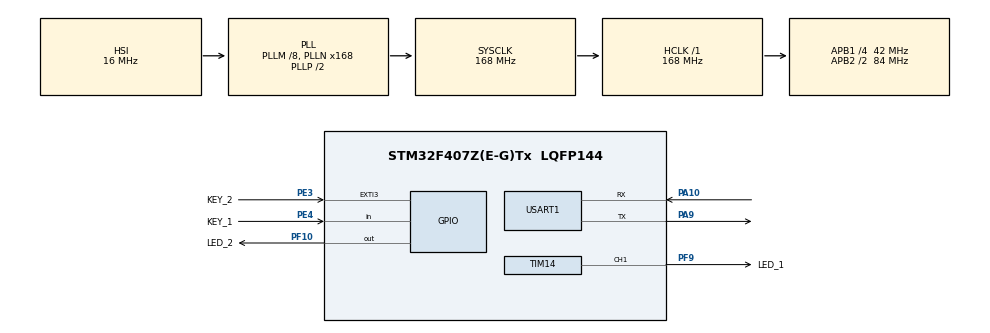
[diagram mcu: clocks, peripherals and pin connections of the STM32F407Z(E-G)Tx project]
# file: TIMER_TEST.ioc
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Mcu.Family=STM32F4
Mcu.Name=STM32F407Z(E-G)Tx
Mcu.Package=LQFP144
NVIC.EXTI3_IRQn=true\:0\:0\:false\:false\:true\:true\:true
NVIC.PriorityGroup=NVIC_PRIORITYGROUP_4
NVIC.TIM6_DAC_IRQn=true\:0\:0\:false\:false\:true\:true\:true
NVIC.TIM8_TRG_COM_TIM14_IRQn=true\:1\:0\:true\:false\:true\:true\:true
NVIC.USART1_IRQn=true\:0\:0\:false\:false\:true\:true\:true
PA10.Mode=Asynchronous
PA10.Signal=USART1_RX
PA13.Mode=JTAG_5_pins
PA13.Signal=SYS_JTMS-SWDIO
PA14.Mode=JTAG_5_pins
PA14.Signal=SYS_JTCK-SWCLK
PA15.Mode=JTAG_5_pins
PA15.Signal=SYS_JTDI
PA9.Mode=Asynchronous
PA9.Signal=USART1_TX
PB3.Mode=JTAG_5_pins
PB3.Signal=SYS_JTDO-SWO
PB4.Mode=JTAG_5_pins
PB4.Signal=SYS_JTRST
PE3.GPIO_Label=KEY_2
PE3.GPIO_ModeDefaultEXTI=GPIO_MODE_IT_FALLING
PE3.GPIO_PuPd=GPIO_PULLUP
PE3.Signal=GPXTI3
PE4.GPIO_Label=KEY_1
PE4.GPIO_PuPd=GPIO_PULLUP
PE4.Signal=GPIO_Input
PF10.GPIO_Label=LED_2
PF10.PinState=GPIO_PIN_SET
PF10.Signal=GPIO_Output
PF9.GPIO_Label=LED_1
PF9.Signal=S_TIM14_CH1
PH0-OSC_IN.Mode=HSE-External-Oscillator
PH0-OSC_IN.Signal=RCC_OSC_IN
PH1-OSC_OUT.Mode=HSE-External-Oscillator
PH1-OSC_OUT.Signal=RCC_OSC_OUT
ProjectManager.HeapSize=0x200
ProjectManager.StackSize=0x400
ProjectManager.TargetToolchain=STM32CubeIDE
RCC.48MHZClocksFreq_Value=84000000
RCC.AHBFreq_Value=168000000
RCC.APB1CLKDivider=RCC_HCLK_DIV4
RCC.APB1Freq_Value=42000000
RCC.APB1TimFreq_Value=84000000
RCC.APB2CLKDivider=RCC_HCLK_DIV2
RCC.APB2Freq_Value=84000000
RCC.APB2TimFreq_Value=168000000
RCC.CortexFreq_Value=168000000
RCC.HCLKFreq_Value=168000000
RCC.HSE_VALUE=25000000
RCC.HSI_VALUE=16000000
RCC.LSE_VALUE=32768
RCC.PLLM=8
RCC.PLLN=168
RCC.SYSCLKFreq_VALUE=168000000
RCC.SYSCLKSource=RCC_SYSCLKSOURCE_PLLCLK
RCC.VCOOutputFreq_Value=336000000
SH.S_TIM14_CH1.0=TIM14_CH1,PWM Generation1 CH1
TIM14.Channel=TIM_CHANNEL_1
TIM14.OCPolarity_1=TIM_OCPOLARITY_LOW
TIM14.Period=999
TIM14.Prescaler=0
TIM14.Pulse=300
TIM6.Period=999
TIM6.Prescaler=41999
USART1.VirtualMode=VM_ASYNC
VP_TIM14_VS_ClockSourceINT.Mode=Enable_Timer
VP_TIM6_VS_ClockSourceINT.Mode=Enable_Timer
board=custom

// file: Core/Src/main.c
/* USER CODE BEGIN Header */
/**
  ******************************************************************************
  * @file           : main.c
  * @brief          : Main program body
  ******************************************************************************
  * @attention
  *
  * <h2><center>&copy; Copyright (c) 2021 STMicroelectronics.
  * All rights reserved.</center></h2>
  *
  * This software component is licensed by ST under BSD 3-Clause license,
  * the "License"; You may not use this file except in compliance with the
  * License. You may obtain a copy of the License at:
  *                        opensource.org/licenses/BSD-3-Clause
  *
  ******************************************************************************
  */
/* USER CODE END Header */
#include "main.h"
#include "tim.h"
#include "usart.h"
#include "gpio.h"

/* USER CODE BEGIN Includes */
#include "led.h"
#include "led_control.h"
#include "stdio.h"
/* USER CODE END Includes */

/* USER CODE BEGIN PV */
uint8_t receive_char;
/* USER CODE END PV */

void SystemClock_Config(void);

int main(void)
{

  /* MCU Configuration--------------------------------------------------------*/

  /* Reset of all peripherals, Initializes the Flash interface and the Systick. */
  HAL_Init();

  /* Configure the system clock */
  SystemClock_Config();

  /* Initialize all configured peripherals */
  MX_GPIO_Init();
  MX_USART1_UART_Init();
  MX_TIM6_Init();
  MX_TIM14_Init();
  /* USER CODE BEGIN 2 */

  printf("串口发送正常\r\n");
  HAL_Delay(500);
  printf("串口发送正常\r\n");
  HAL_Delay(500);
  printf("串口发送正常\r\n");

  HAL_UART_Receive_IT(&huart1, &receive_char, 1);

  KeyControlInit();

  //需要tim的哪个功能就使能哪个就行了，不需要使能没用上的
  HAL_TIM_Base_Start_IT(&htim6);
  //HAL_TIM_Base_Start_IT(&htim14);	//使能tim14的定时器中断功能
  HAL_TIM_PWM_Start_IT(&htim14, TIM_CHANNEL_1);
  //HAL_TIM_PWM_Start(&htim14, TIM_CHANNEL_1);//使能tim14 ch1 pwm调波功能

  uint16_t dutycycle=0;

  /* USER CODE END 2 */

  /* Infinite loop */
  /* USER CODE BEGIN WHILE */
  while (1)
  {
	KeyControl();

	//led呼吸灯效果（控制pwm调波占空比）
	while(dutycycle<1000)
		{
			dutycycle++;
			//__HAL_TIM_SET_COMPARE(&htim14,TIM_CHANNEL_1,dutycycle); //库操作方式
			TIM14->CCR1 = dutycycle;         //寄存器操作方式
			HAL_Delay(1);
		}
		while(dutycycle)
		{
			dutycycle--;
			//__HAL_TIM_SET_COMPARE(&htim14,TIM_CHANNEL_1,dutycycle); //库操作方式
			TIM14->CCR1 = dutycycle;         //寄存器操作方式
			HAL_Delay(1);
		}
	//HAL_Delay(100);
    /* USER CODE END WHILE */

  }
}

void SystemClock_Config(void)
{
  RCC_OscInitTypeDef RCC_OscInitStruct = {0};
  RCC_ClkInitTypeDef RCC_ClkInitStruct = {0};

  /** Configure the main internal regulator output voltage
  */
  __HAL_RCC_PWR_CLK_ENABLE();
  __HAL_PWR_VOLTAGESCALING_CONFIG(PWR_REGULATOR_VOLTAGE_SCALE1);
  /** Initializes the RCC Oscillators according to the specified parameters
  * in the RCC_OscInitTypeDef structure.
  */
  RCC_OscInitStruct.OscillatorType = RCC_OSCILLATORTYPE_HSI;
  RCC_OscInitStruct.HSIState = RCC_HSI_ON;
  RCC_OscInitStruct.HSICalibrationValue = RCC_HSICALIBRATION_DEFAULT;
  RCC_OscInitStruct.PLL.PLLState = RCC_PLL_ON;
  RCC_OscInitStruct.PLL.PLLSource = RCC_PLLSOURCE_HSI;
  RCC_OscInitStruct.PLL.PLLM = 8;
  RCC_OscInitStruct.PLL.PLLN = 168;
  RCC_OscInitStruct.PLL.PLLP = RCC_PLLP_DIV2;
  RCC_OscInitStruct.PLL.PLLQ = 4;
  if (HAL_RCC_OscConfig(&RCC_OscInitStruct) != HAL_OK)
  {
    Error_Handler();
  }
  /** Initializes the CPU, AHB and APB buses clocks
  */
  RCC_ClkInitStruct.ClockType = RCC_CLOCKTYPE_HCLK|RCC_CLOCKTYPE_SYSCLK
                              |RCC_CLOCKTYPE_PCLK1|RCC_CLOCKTYPE_PCLK2;
  RCC_ClkInitStruct.SYSCLKSource = RCC_SYSCLKSOURCE_PLLCLK;
  RCC_ClkInitStruct.AHBCLKDivider = RCC_SYSCLK_DIV1;
  RCC_ClkInitStruct.APB1CLKDivider = RCC_HCLK_DIV4;
  RCC_ClkInitStruct.APB2CLKDivider = RCC_HCLK_DIV2;

  if (HAL_RCC_ClockConfig(&RCC_ClkInitStruct, FLASH_LATENCY_5) != HAL_OK)
  {
    Error_Handler();
  }
}

/* USER CODE BEGIN 4 */
void HAL_UART_RxCpltCallback(UART_HandleTypeDef *huart)
{
	if (huart->Instance==USART1)
	{

		/*接收数据的处理*/

		//原封不动的回传
		HAL_UART_Transmit(&huart1, &receive_char, 1, 0xff);

		//-----------------------------------

		while(HAL_UART_Receive_IT(&huart1, &receive_char, 1)!=HAL_OK);
	}
}
/* USER CODE END 4 */

void Error_Handler(void)
{
  __disable_irq();
  while (1)
  {
  }
}

/************************ (C) COPYRIGHT STMicroelectronics *****END OF FILE****/
